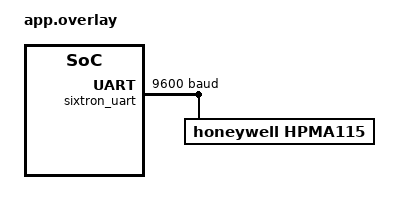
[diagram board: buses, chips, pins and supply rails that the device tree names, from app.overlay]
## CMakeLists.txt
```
#
# Copyright (c) 2024 CATIE
#
# SPDX-License-Identifier: Apache-2.0
#

cmake_minimum_required(VERSION 3.20.0)
find_package(Zephyr REQUIRED HINTS $ENV{ZEPHYR_BASE})
project(hpma115)

FILE(GLOB app_sources src/main.c)
target_sources(app PRIVATE ${app_sources})
```

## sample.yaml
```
sample:
  name: HPMA115 dust sensor sample
tests:
  sample.default:
    tags: sensor
    integration_platforms:
      - zest_core_stm32l4a6rg
    depends_on: gpio
```

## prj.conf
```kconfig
# Enable custom device driver
CONFIG_SERIAL=y
CONFIG_UART_INTERRUPT_DRIVEN=y
CONFIG_HPMA115=y
CONFIG_GPIO=y
CONFIG_UART_ASYNC_API=y

# Logging
CONFIG_LOG=y
CONFIG_LOG_DEFAULT_LEVEL=4
CONFIG_SENSOR=y
```

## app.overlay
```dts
&sixtron_uart {
    current-speed = <9600>;
    status="okay";
    hpma115: hpma115_0 {
        compatible = "honeywell,hpma115";
        status="okay";
    };
};
```

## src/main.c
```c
#include <zephyr/kernel.h>
#include <zephyr/device.h>
#include <zephyr/drivers/sensor.h>

#define SLEEP_TIME_MS 1000

int main(void)
{
	int ret;
	const struct device *sensor;
	struct sensor_value val;

	k_msleep(SLEEP_TIME_MS);
	sensor = DEVICE_DT_GET(DT_NODELABEL(hpma115));

	if (!device_is_ready(sensor)) {
		printk("Sensor not ready");
		return 0;
	}

	while (1) {
		ret = sensor_sample_fetch(sensor);
		ret = sensor_channel_get(sensor, SENSOR_CHAN_PM_1_0, &val);
		printk("PM1_0: %d\t", val.val1);
		ret = sensor_channel_get(sensor, SENSOR_CHAN_PM_2_5, &val);
		printk("PM2_5: %d\t", val.val1);
		ret = sensor_channel_get(sensor, SENSOR_CHAN_PM_10, &val);
		printk("PM10: %d\n", val.val1);
		if (ret < 0) {
			printk("Could not get sample (%d)", ret);
			return 0;
		}
		k_msleep(SLEEP_TIME_MS);
	}
}
```
